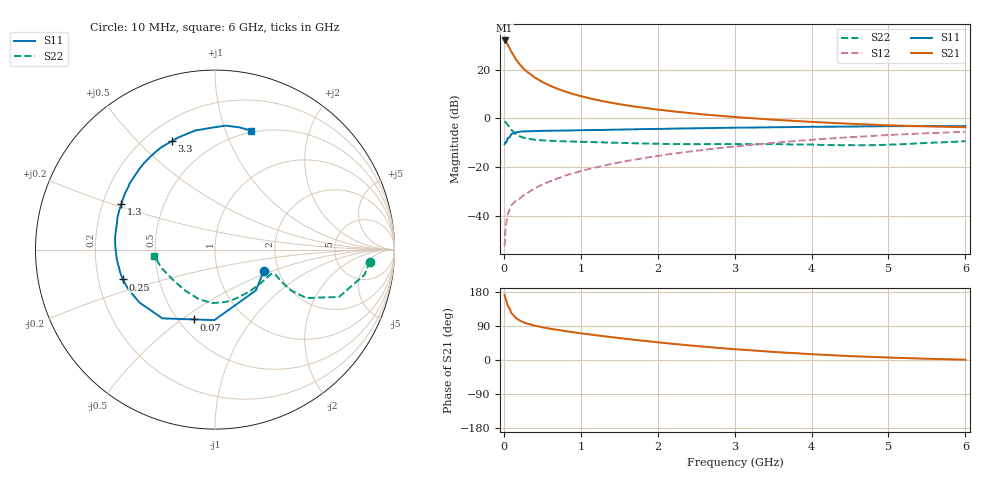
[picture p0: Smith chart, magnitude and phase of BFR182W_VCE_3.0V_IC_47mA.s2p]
! Infineon Technologies  Discrete & RF Semiconductors
! BFR182W
! VCE =  3.0 V,  IC =  47 mA
! Common Emitter S-Parameters:  Jan 2017
# GHz  S  MA  R  50
!  f  S11  S21  S12  S22
! GHz  MAG  ANG  MAG  ANG  MAG  ANG  MAG  ANG
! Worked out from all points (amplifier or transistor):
!   77 points, 10 MHz to 6 GHz, reference 50 ohm
!   highest |S21| = 31.9 dB at 10 MHz (marker M1)
!   |S21| within 3 dB of that: start of sweep to 71.49 MHz
!   unconditionally stable (mu >= 1): start of sweep to 12.89 MHz; 261.8 MHz to 2.72 GHz
!   at 130 MHz: K = 0.71, MSG = 30.2 dB, |S12| = -34.7 dB
!   at 2.2 GHz: K = 1.06, MAG = 7.2 dB, |S12| = -14.5 dB
!   at 6 GHz: K = 0.98, MSG = 0.9 dB, |S12| = -5.5 dB
!   S11 on the Smith chart (normalised r, x): 10 MHz: 1.67, -0.44; 70 MHz: 0.59, -0.55; 250 MHz: 0.30, -0.14; 1.3 GHz: 0.28, +0.21; 3.3 GHz: 0.30, +0.63; 6 GHz: 0.48, +1.23
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0.01  0.2973 -23.8  39.5 171.7  0.0024 70.3  0.8651 -4.4
0.02  0.3218 -45.0  38.8 163.9  0.0048 76.8  0.8445 -9.6
0.05  0.3928 -90.5  32.53 143.6  0.0107 64.7  0.7392 -20.9
0.07  0.4068 -107.0  28.27 137.1  0.013 61.9  0.6723 -23.3
0.1  0.4823 -127.4  22.87 123.1  0.0165 59.2  0.5749 -28.0
0.15  0.5137 -144.9  16.84 111.9  0.0199 57.5  0.4817 -28.2
0.2  0.5299 -155.0  13.14 104.9  0.0222 60.2  0.4333 -26.8
0.25  0.5407 -162.1  10.76 99.8  0.0261 62.0  0.4042 -25.3
0.3  0.5435 -167.0  9.06 96.3  0.029 63.1  0.3854 -24.1
0.4  0.5496 -174.3  6.911 90.6  0.0365 67.7  0.366 -22.6
0.5  0.5538 -179.9  5.569 86.3  0.044 69.4  0.3542 -22.4
0.6  0.5582 175.8  4.673 82.6  0.0512 71.0  0.3468 -22.6
0.7  0.561 172.1  4.024 79.4  0.0587 73.1  0.342 -23.4
0.9  0.5649 165.4  3.153 73.3  0.0747 73.8  0.3344 -25.8
1.1  0.5745 159.6  2.613 67.9  0.0911 74.5  0.3281 -29.0
1.3  0.5792 154.2  2.23 62.8  0.1074 74.2  0.3217 -32.7
2.1  0.6113 135.3  1.45 44.7  0.1791 70.4  0.2995 -52.7
3.1  0.6454 115.5  1.039 27.2  0.275 61.6  0.2965 -82.2
3.3  0.65 111.7  0.988 24.4  0.2946 59.5  0.296 -87.8
4.1  0.673 97.9  0.832 14.3  0.3733 50.7  0.2867 -111.4
5.1  0.6929 83.8  0.711 5.9  0.4628 38.7  0.2919 -148.0
6  0.6925 73.0  0.657 0.8  0.531 27.8  0.3396 -173.9
